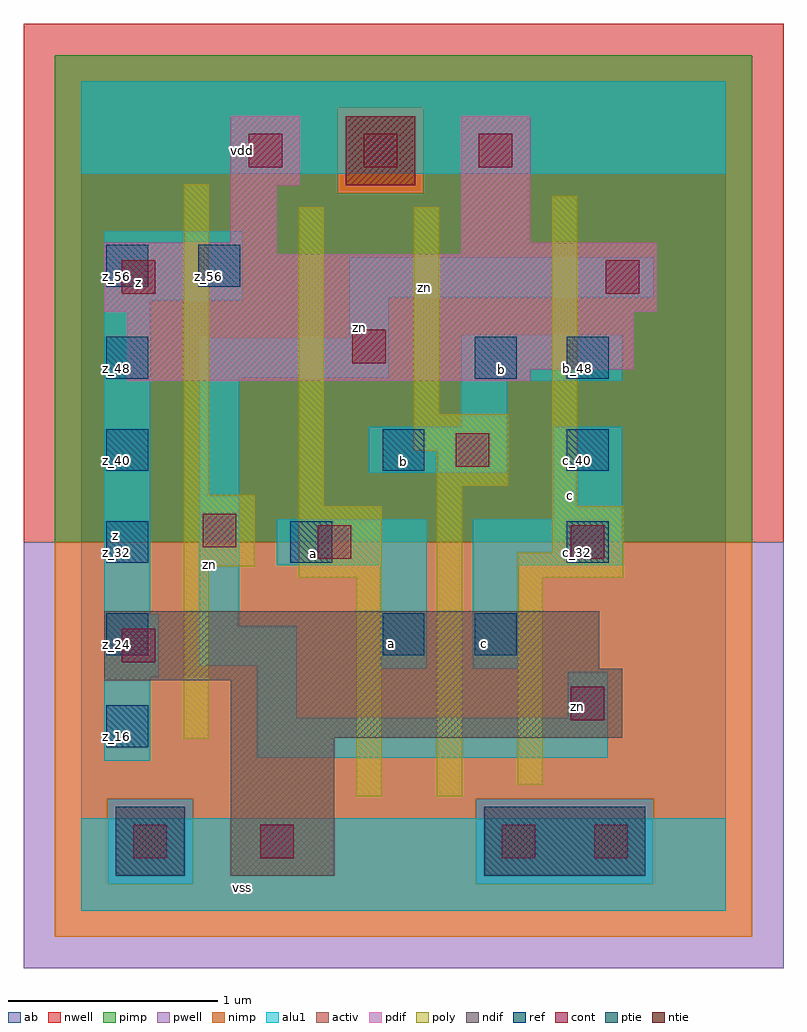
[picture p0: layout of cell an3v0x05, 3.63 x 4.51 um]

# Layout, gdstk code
import gdstk
lib = gdstk.Library(unit=1e-6, precision=2.5e-09)
def R(c, l, rs):  # rectangles x0, y0, x1, y1
    for r in rs: c.add(gdstk.rectangle(r[:2], r[2:], *l))
def A(c, l, x, y, w, h, nx, ny, dx, dy):  # array of equal rectangles
    R(c, l, [(x+i*dx, y+j*dy, x+i*dx+w, y+j*dy+h) for i in range(nx) for j in range(ny)])
ndif = (3, 0)
pdif = (4, 0)
ntie = (5, 0)
ptie = (6, 0)
ref = (24, 0)
cont = (25, 0)
pwell = (41, 0)
nwell = (42, 0)
activ = (43, 0)
pimp = (44, 0)
nimp = (45, 0)
poly = (46, 0)
alu1 = (49, 0)
ab = (63, 0)

an3v0x05 = lib.new_cell('an3v0x05')
R(an3v0x05, ndif, [(0.715,0.165,1.21,0.825), (0.715,0.825,2.585,1.1), (0.11,1.1,2.585,1.155), (0.11,1.155,2.475,1.43)])
R(an3v0x05, pdif, [(0.22,2.53,2.145,2.585), (0.22,2.585,2.64,2.86), (0.11,2.86,2.75,3.135), (0.11,3.135,0.935,3.19), (1.815,3.135,2.75,3.19), (0.715,3.19,0.935,3.465), (1.815,3.19,2.145,3.795), (0.715,3.465,1.045,3.795)])
R(an3v0x05, ntie, [(1.265,3.465,1.595,3.795)])
R(an3v0x05, ptie, [(0.165,0.165,0.495,0.495), (1.925,0.165,2.695,0.495)])
A(an3v0x05, ref, 0.12, 0.78, 0.2, 0.2, 1, 6, 0, 0.44)
A(an3v0x05, ref, 2.32, 1.66, 0.2, 0.2, 1, 3, 0, 0.44)
R(an3v0x05, ref, [(1.44,1.22,1.64,1.42), (1.88,1.22,2.08,1.42), (1,1.66,1.2,1.86), (1.44,2.1,1.64,2.3), (1.88,2.54,2.08,2.74), (0.56,2.98,0.76,3.18)])
A(an3v0x05, cont, 0.8, 3.55, 0.16, 0.16, 3, 1, 0.55, 0)
R(an3v0x05, cont, [(0.25,0.25,0.41,0.41), (0.855,0.25,1.015,0.41), (2.01,0.25,2.17,0.41), (2.45,0.25,2.61,0.41), (2.34,0.91,2.5,1.07), (0.195,1.185,0.355,1.345), (1.13,1.68,1.29,1.84), (2.34,1.68,2.5,1.84), (0.58,1.735,0.74,1.895), (1.79,2.12,1.95,2.28), (1.295,2.615,1.455,2.775), (0.195,2.945,0.355,3.105), (2.505,2.945,2.665,3.105)])
R(an3v0x05, pwell, [(-0.275,-0.275,3.355,1.76)])
R(an3v0x05, nwell, [(-0.275,1.76,3.355,4.235)])
R(an3v0x05, activ, [(0.165,0.165,0.495,0.495), (0.715,0.165,1.21,0.825), (1.925,0.165,2.695,0.495), (0.715,0.825,2.585,1.1), (0.11,1.1,2.585,1.155), (0.11,1.155,2.475,1.43), (0.22,2.53,2.145,2.585), (0.22,2.585,2.64,2.86), (0.11,2.86,2.75,3.135), (0.11,3.135,0.935,3.19), (1.815,3.135,2.75,3.19), (0.715,3.19,0.935,3.465), (1.815,3.19,2.145,3.795), (0.715,3.465,1.045,3.795), (1.265,3.465,1.595,3.795)])
R(an3v0x05, pimp, [(0.125,0.125,0.535,0.535), (1.885,0.125,2.735,0.535), (-0.125,1.76,3.205,3.425), (-0.125,3.425,1.225,3.835), (1.635,3.425,3.205,3.835), (-0.125,3.835,3.205,4.085)])
R(an3v0x05, nimp, [(-0.125,-0.125,3.205,0.125), (-0.125,0.125,0.125,0.535), (0.535,0.125,1.885,0.535), (2.735,0.125,3.205,0.535), (-0.125,0.535,3.205,1.76), (1.225,3.425,1.635,3.835)])
R(an3v0x05, poly, [(1.315,0.545,1.435,1.59), (1.7,0.545,1.82,2.03), (2.085,0.6,2.205,1.59), (0.49,0.82,0.61,1.645), (1.04,1.59,1.435,1.93), (2.085,1.59,2.59,1.71), (0.49,1.645,0.83,1.985), (2.25,1.71,2.59,1.93), (1.04,1.93,1.16,3.36), (2.25,1.93,2.37,3.415), (0.49,1.985,0.61,3.47), (1.7,2.03,2.04,2.195), (1.59,2.195,2.04,2.37), (1.59,2.37,1.71,3.36)])
R(an3v0x05, alu1, [(0,0,3.08,0.44), (0.11,0.715,0.33,1.115), (0.84,0.73,2.515,0.92), (0.84,0.92,1.03,1.17), (2.325,0.92,2.515,1.14), (0.11,1.115,0.37,1.415), (1.43,1.155,1.65,1.65), (1.87,1.155,2.09,1.65), (0.565,1.17,1.03,1.36), (0.565,1.36,0.755,2.545), (0.11,1.415,0.33,2.915), (0.935,1.65,1.65,1.87), (1.87,1.65,2.585,1.87), (2.255,1.87,2.585,2.31), (1.375,2.09,2.035,2.31), (1.815,2.31,2.035,2.53), (1.815,2.53,2.585,2.75), (0.565,2.545,1.47,2.735), (1.28,2.735,1.47,2.93), (0.11,2.915,0.77,3.245), (1.28,2.93,2.735,3.12), (0,3.52,3.08,3.96)])
R(an3v0x05, ab, [(0,0,3.08,3.96)])
an3v0x05.add(gdstk.Label('vss', (0.77,0.11), layer=49, texttype=0))
an3v0x05.add(gdstk.Label('zn', (2.3725,0.975), layer=49, texttype=0))
an3v0x05.add(gdstk.Label('c', (1.925,1.2775), layer=49, texttype=0))
an3v0x05.add(gdstk.Label('a', (1.485,1.2775), layer=49, texttype=0))
an3v0x05.add(gdstk.Label('a', (1.1125,1.705), layer=49, texttype=0))
an3v0x05.add(gdstk.Label('c', (2.3375,1.98), layer=49, texttype=0))
an3v0x05.add(gdstk.Label('b', (1.54,2.145), layer=49, texttype=0))
an3v0x05.add(gdstk.Label('b', (2.0075,2.585), layer=49, texttype=0))
an3v0x05.add(gdstk.Label('zn', (0.6125,1.655), layer=49, texttype=0))
an3v0x05.add(gdstk.Label('zn', (1.3275,2.7825), layer=49, texttype=0))
an3v0x05.add(gdstk.Label('z', (0.165,1.79), layer=49, texttype=0))
an3v0x05.add(gdstk.Label('zn', (1.6425,2.9775), layer=49, texttype=0))
an3v0x05.add(gdstk.Label('z', (0.275,2.9975), layer=49, texttype=0))
an3v0x05.add(gdstk.Label('vdd', (0.77,3.63), layer=49, texttype=0))
an3v0x05.add(gdstk.Label('z_56', (0.61,3.03), layer=24, texttype=0))
an3v0x05.add(gdstk.Label('a_32', (1.05,1.71), layer=24, texttype=0))
an3v0x05.add(gdstk.Label('a_24', (1.49,1.27), layer=24, texttype=0))
an3v0x05.add(gdstk.Label('b_40', (1.49,2.15), layer=24, texttype=0))
an3v0x05.add(gdstk.Label('c_24', (1.93,1.27), layer=24, texttype=0))
an3v0x05.add(gdstk.Label('b_48', (1.93,2.59), layer=24, texttype=0))
an3v0x05.add(gdstk.Label('z_16', (0.17,0.83), layer=24, texttype=0))
an3v0x05.add(gdstk.Label('z_24', (0.17,1.27), layer=24, texttype=0))
an3v0x05.add(gdstk.Label('z_32', (0.17,1.71), layer=24, texttype=0))
an3v0x05.add(gdstk.Label('z_40', (0.17,2.15), layer=24, texttype=0))
an3v0x05.add(gdstk.Label('z_48', (0.17,2.59), layer=24, texttype=0))
an3v0x05.add(gdstk.Label('z_56', (0.17,3.03), layer=24, texttype=0))
an3v0x05.add(gdstk.Label('c_32', (2.37,1.71), layer=24, texttype=0))
an3v0x05.add(gdstk.Label('c_40', (2.37,2.15), layer=24, texttype=0))
an3v0x05.add(gdstk.Label('b_48', (2.37,2.59), layer=24, texttype=0))

lib.write_gds('an3v0x05.gds')
